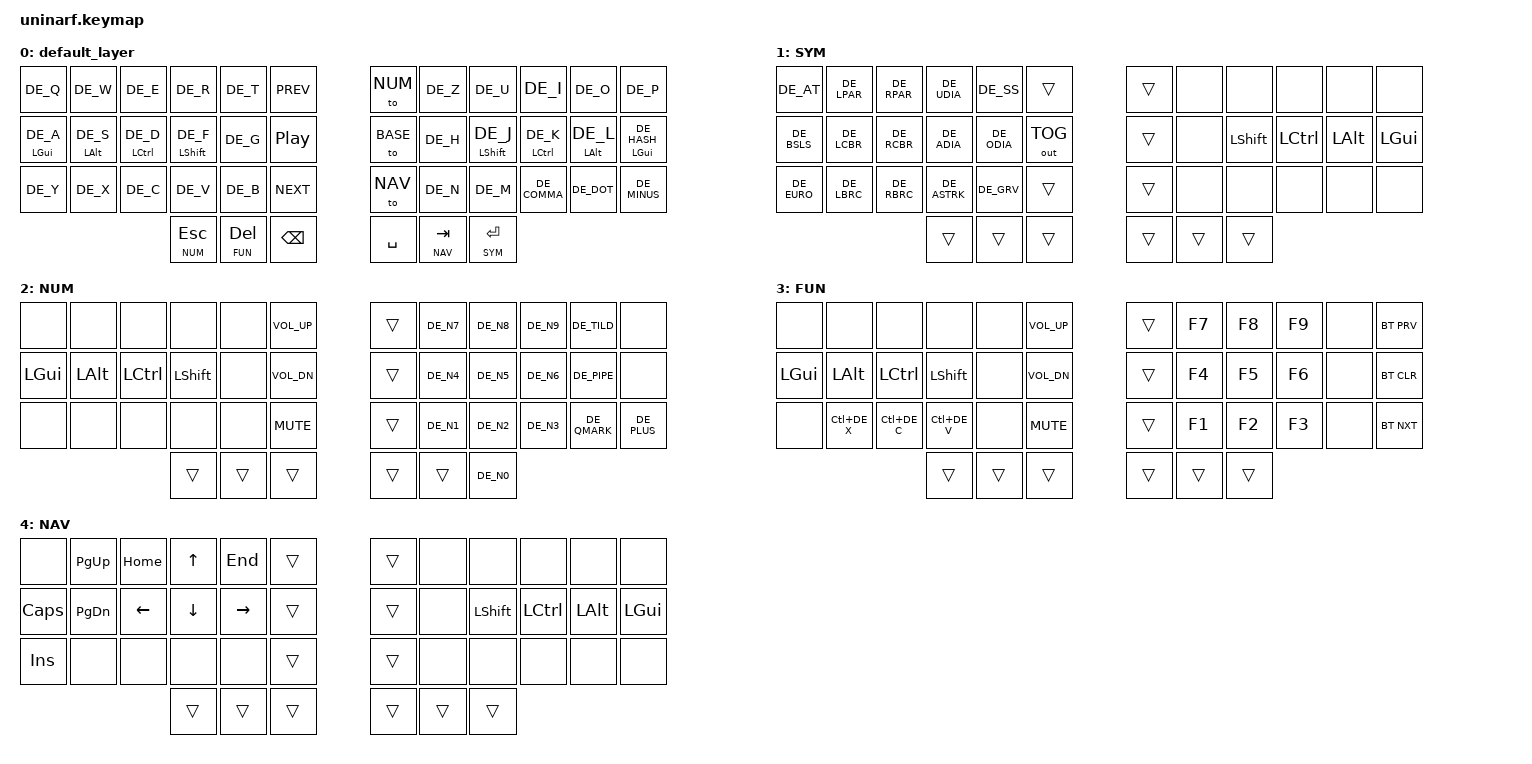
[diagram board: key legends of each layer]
#include <behaviors.dtsi>
#include <dt-bindings/zmk/keys.h>
#include <dt-bindings/zmk/bt.h>
#include <dt-bindings/zmk/outputs.h>
#include "keys_de.h"

#define BASE 0
#define SYM  1
#define NUM  2
#define FUN  3
#define NAV  4
#define OTHER 5


/ {
    keymap {
        compatible = "zmk,keymap";

        default_layer {
            bindings = <
                &kp DE_Q       &kp DE_W       &kp DE_E       &kp DE_R       &kp DE_T   &kp C_PREV     &to NUM    &kp DE_Z       &kp DE_U       &kp DE_I       &kp DE_O       &kp DE_P
                &mt LGUI DE_A  &mt LALT DE_S  &mt LCTRL DE_D &mt LSHFT DE_F &kp DE_G   &kp C_PP       &to BASE   &kp DE_H       &mt LSHFT DE_J &mt LCTRL DE_K &mt LALT DE_L  &mt LGUI DE_HASH
                &kp DE_Y       &kp DE_X       &kp DE_C       &kp DE_V       &kp DE_B   &kp C_NEXT     &to NAV    &kp DE_N       &kp DE_M       &kp DE_COMMA   &kp DE_DOT     &kp DE_MINUS
                                              &lt NUM ESC    &lt FUN DEL    &kp BSPC                             &kp SPC        &lt NAV TAB    &lt SYM RET
            >;
        };

        sym_layer {
            label= "SYM";
            bindings = <
                &kp DE_AT   &kp DE_LPAR &kp DE_RPAR  &kp DE_UDIA  &kp DE_SS    &trans           &trans   &none    &none     &none      &none    &none
                &kp DE_BSLS &kp DE_LCBR &kp DE_RCBR  &kp DE_ADIA  &kp DE_ODIA  &out OUT_TOG     &trans   &none    &kp LSHFT &kp LCTRL  &kp LALT &kp LGUI
                &kp DE_EURO &kp DE_LBRC &kp DE_RBRC  &kp DE_ASTRK &kp DE_GRV   &trans           &trans   &none    &none     &none      &none    &none
                                        &trans       &trans       &trans                                 &trans   &trans    &trans
            >;
        };

        num_layer {
            label= "NUM";
            bindings = <
                &none     &none    &none      &none     &none  &kp C_VOL_UP    &trans &kp DE_N7 &kp DE_N8 &kp DE_N9 &kp DE_TILD   &none
                &kp LGUI  &kp LALT &kp LCTRL  &kp LSHFT &none  &kp C_VOL_DN    &trans &kp DE_N4 &kp DE_N5 &kp DE_N6 &kp DE_PIPE   &none
                &none     &none    &none      &none     &none  &kp C_MUTE      &trans &kp DE_N1 &kp DE_N2 &kp DE_N3 &kp DE_QMARK  &kp DE_PLUS
                                   &trans     &trans    &trans                        &trans    &trans    &kp DE_N0
            >;
        };

        fun_layer {
            label= "FUN";
            bindings = <
                &none     &none        &none        &none        &none  &kp C_VOL_UP     &trans &kp F7   &kp F8  &kp F9  &none   &bt BT_PRV
                &kp LGUI  &kp LALT     &kp LCTRL    &kp LSHFT    &none  &kp C_VOL_DN     &trans &kp F4   &kp F5  &kp F6  &none   &bt BT_CLR
                &none     &kp LC(DE_X) &kp LC(DE_C) &kp LC(DE_V) &none  &kp C_MUTE       &trans &kp F1   &kp F2  &kp F3  &none   &bt BT_NXT
                                       &trans       &trans       &trans                         &trans   &trans  &trans
            >;
        };

        nav_layer {
            label= "NAV";
            bindings = <
                &none     &kp PG_UP &kp HOME   &kp UP   &kp END   &trans     &trans  &none    &none     &none     &none    &none
                &kp CLCK  &kp PG_DN &kp LEFT   &kp DOWN &kp RIGHT &trans     &trans  &none    &kp LSHFT &kp LCTRL &kp LALT &kp LGUI
                &kp INS   &none     &none      &none    &none     &trans     &trans  &none    &none     &none     &none    &none
                                    &trans     &trans   &trans                       &trans   &trans    &trans
            >;
        };

    };
};
